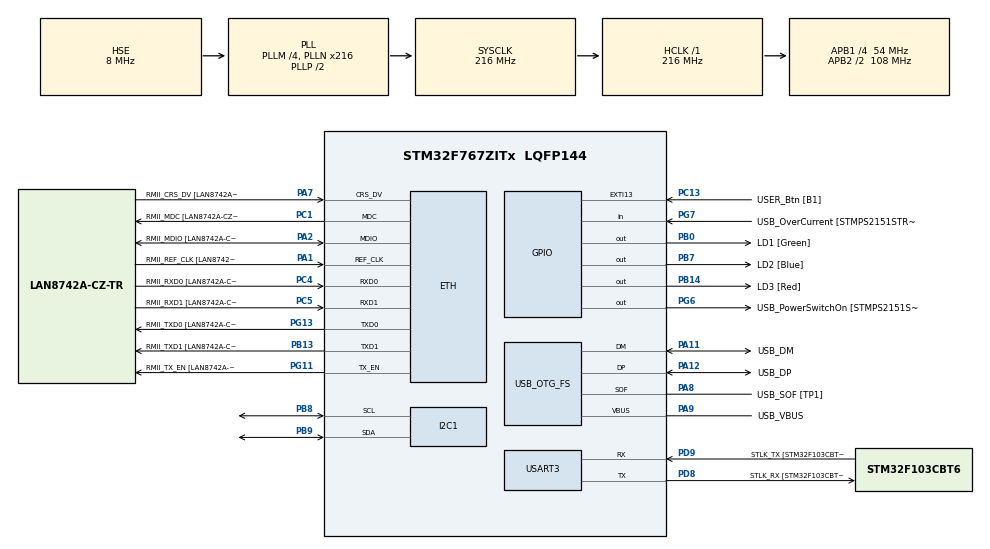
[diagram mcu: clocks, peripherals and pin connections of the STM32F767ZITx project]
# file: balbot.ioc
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ETH.MediaInterface=ETH_MEDIA_INTERFACE_RMII
ETH.PHY_Name=LAN8742A_PHY_ADDRESS
ETH.PHY_Value=0
ETH.PhyAddress=0
FREERTOS.BinarySemaphores01=buttonBinarySem,Dynamic,NULL
FREERTOS.Queues01=RxQueue,128,uint8_t,0,Dynamic,NULL,NULL;TxQueue,128,uint8_t,0,Dynamic,NULL,NULL
FREERTOS.Tasks01=ledTask,24,2048,StartLEDTask,Default,NULL,Dynamic,NULL,NULL;buttonTask,8,200,StartButtonTask,Default,NULL,Dynamic,NULL,NULL
I2C1.Timing=0x20404768
Mcu.Family=STM32F7
Mcu.Name=STM32F767ZITx
Mcu.Package=LQFP144
NVIC.EXTI15_10_IRQn=true\:5\:0\:false\:false\:true\:true\:true\:true
NVIC.PriorityGroup=NVIC_PRIORITYGROUP_4
NVIC.TIM8_TRG_COM_TIM14_IRQn=true\:0\:0\:false\:false\:true\:false\:false\:true
NVIC.TimeBase=TIM8_TRG_COM_TIM14_IRQn
NVIC.TimeBaseIP=TIM14
NVIC.USART3_IRQn=true\:5\:0\:false\:false\:true\:true\:true\:true
PA1.GPIO_Label=RMII_REF_CLK [LAN8742A-CZ-TR_REFCLK0]
PA1.Mode=RMII
PA1.Signal=ETH_REF_CLK
PA10.GPIO_Label=USB_ID
PA10.Signal=USB_OTG_FS_ID
PA11.GPIO_Label=USB_DM
PA11.Mode=Device_Only
PA11.Signal=USB_OTG_FS_DM
PA12.GPIO_Label=USB_DP
PA12.Mode=Device_Only
PA12.Signal=USB_OTG_FS_DP
PA13.GPIO_Label=TMS
PA13.Mode=Serial_Wire
PA13.Signal=SYS_JTMS-SWDIO
PA14.GPIO_Label=TCK
PA14.Mode=Serial_Wire
PA14.Signal=SYS_JTCK-SWCLK
PA2.GPIO_Label=RMII_MDIO [LAN8742A-CZ-TR_MDIO]
PA2.Mode=RMII
PA2.Signal=ETH_MDIO
PA7.GPIO_Label=RMII_CRS_DV [LAN8742A-CZ-TR_CRS_DV]
PA7.Mode=RMII
PA7.Signal=ETH_CRS_DV
PA8.GPIO_Label=USB_SOF [TP1]
PA8.Mode=Activate_SOF_FS
PA8.Signal=USB_OTG_FS_SOF
PA9.GPIO_Label=USB_VBUS
PA9.Mode=Activate_VBUS
PA9.Signal=USB_OTG_FS_VBUS
PB0.GPIO_Label=LD1 [Green]
PB0.Signal=GPIO_Output
PB13.GPIO_Label=RMII_TXD1 [LAN8742A-CZ-TR_TXD1]
PB13.Mode=RMII
PB13.Signal=ETH_TXD1
PB14.GPIO_Label=LD3 [Red]
PB14.Signal=GPIO_Output
PB3.GPIO_Label=SWO
PB3.Signal=SYS_JTDO-SWO
PB7.GPIO_Label=LD2 [Blue]
PB7.Signal=GPIO_Output
PB8.Mode=I2C
PB8.Signal=I2C1_SCL
PB9.Mode=I2C
PB9.Signal=I2C1_SDA
PC1.GPIO_Label=RMII_MDC [LAN8742A-CZ-TR_MDC]
PC1.Mode=RMII
PC1.Signal=ETH_MDC
PC13.GPIO_Label=USER_Btn [B1]
PC13.Signal=GPXTI13
PC14/OSC32_IN.Mode=LSE-External-Oscillator
PC14/OSC32_IN.Signal=RCC_OSC32_IN
PC15/OSC32_OUT.Mode=LSE-External-Oscillator
PC15/OSC32_OUT.Signal=RCC_OSC32_OUT
PC4.GPIO_Label=RMII_RXD0 [LAN8742A-CZ-TR_RXD0]
PC4.Mode=RMII
PC4.Signal=ETH_RXD0
PC5.GPIO_Label=RMII_RXD1 [LAN8742A-CZ-TR_RXD1]
PC5.Mode=RMII
PC5.Signal=ETH_RXD1
PD8.GPIO_Label=STLK_RX [STM32F103CBT6_PA3]
PD8.Mode=Asynchronous
PD8.Signal=USART3_TX
PD9.GPIO_Label=STLK_TX [STM32F103CBT6_PA2]
PD9.Mode=Asynchronous
PD9.Signal=USART3_RX
PG11.GPIO_Label=RMII_TX_EN [LAN8742A-CZ-TR_TXEN]
PG11.Mode=RMII
PG11.Signal=ETH_TX_EN
PG13.GPIO_Label=RMII_TXD0 [LAN8742A-CZ-TR_TXD0]
PG13.Mode=RMII
PG13.Signal=ETH_TXD0
PG6.GPIO_Label=USB_PowerSwitchOn [STMPS2151STR_EN]
PG6.Signal=GPIO_Output
PG7.GPIO_Label=USB_OverCurrent [STMPS2151STR_FAULT]
PG7.Signal=GPIO_Input
PH0/OSC_IN.GPIO_Label=MCO [STM32F103CBT6_PA8]
PH0/OSC_IN.Mode=HSE-External-Clock-Source
PH0/OSC_IN.Signal=RCC_OSC_IN
PH1/OSC_OUT.Mode=HSE-External-Clock-Source
PH1/OSC_OUT.Signal=RCC_OSC_OUT
ProjectManager.HeapSize=0x200
ProjectManager.StackSize=0x400
ProjectManager.TargetToolchain=STM32CubeIDE
RCC.48MHZClocksFreq_Value=24000000
RCC.AHBFreq_Value=216000000
RCC.APB1CLKDivider=RCC_HCLK_DIV4
RCC.APB1Freq_Value=54000000
RCC.APB1TimFreq_Value=108000000
RCC.APB2CLKDivider=RCC_HCLK_DIV2
RCC.APB2Freq_Value=108000000
RCC.APB2TimFreq_Value=216000000
RCC.CortexFreq_Value=216000000
RCC.HCLKFreq_Value=216000000
RCC.HSE_VALUE=8000000
RCC.HSI_VALUE=16000000
RCC.PLLM=4
RCC.PLLMUL=RCC_PLL_MUL9
RCC.PLLN=216
RCC.PLLQ=9
RCC.PRESCALERUSB=RCC_USBCLKSOURCE_PLL_DIV1_5
RCC.SYSCLKFreq_VALUE=216000000
RCC.SYSCLKSource=RCC_SYSCLKSOURCE_PLLCLK
RCC.SYSCLKSourceVirtual=RCC_SYSCLKSOURCE_PLLCLK
RCC.USBFreq_Value=48000000
RCC.VCOOutputFreq_Value=432000000
USART3.VirtualMode-Asynchronous=VM_ASYNC
USB_OTG_FS.VirtualMode=Device_Only
VP_FREERTOS_VS_CMSIS_V2.Mode=CMSIS_V2
VP_SYS_VS_tim14.Mode=TIM14
board=NUCLEO-F767ZI

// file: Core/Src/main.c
/* USER CODE BEGIN Header */
/**
  ******************************************************************************
  * @file           : main.c
  * @brief          : Main program body
  ******************************************************************************
  * @attention
  *
  * <h2><center>&copy; Copyright (c) 2020 STMicroelectronics.
  * All rights reserved.</center></h2>
  *
  * This software component is licensed by ST under BSD 3-Clause license,
  * the "License"; You may not use this file except in compliance with the
  * License. You may obtain a copy of the License at:
  *                        opensource.org/licenses/BSD-3-Clause
  *
  ******************************************************************************
  */
/* USER CODE END Header */

#include "main.h"
#include "cmsis_os.h"

/* USER CODE BEGIN Includes */
#include <stdio.h>
#include <string.h>
#include "I2Cdev.h"
#include "MPU6050.h"
/* USER CODE END Includes */

ETH_HandleTypeDef heth;

I2C_HandleTypeDef hi2c1;

UART_HandleTypeDef huart3;

PCD_HandleTypeDef hpcd_USB_OTG_FS;

/* Definitions for ledTask */
osThreadId_t ledTaskHandle;
const osThreadAttr_t ledTask_attributes = {
  .name = "ledTask",
  .priority = (osPriority_t) osPriorityNormal,
  .stack_size = 2048
};
/* Definitions for buttonTask */
osThreadId_t buttonTaskHandle;
const osThreadAttr_t buttonTask_attributes = {
  .name = "buttonTask",
  .priority = (osPriority_t) osPriorityLow,
  .stack_size = 2048
};
/* Definitions for RxQueue */
osMessageQueueId_t RxQueueHandle;
const osMessageQueueAttr_t RxQueue_attributes = {
  .name = "RxQueue"
};
/* Definitions for TxQueue */
osMessageQueueId_t TxQueueHandle;
const osMessageQueueAttr_t TxQueue_attributes = {
  .name = "TxQueue"
};
/* Definitions for buttonBinarySem */
osSemaphoreId_t buttonBinarySemHandle;
const osSemaphoreAttr_t buttonBinarySem_attributes = {
  .name = "buttonBinarySem"
};

void SystemClock_Config(void);
static void MX_GPIO_Init(void);
static void MX_ETH_Init(void);
static void MX_USART3_UART_Init(void);
static void MX_USB_OTG_FS_PCD_Init(void);
static void MX_I2C1_Init(void);
void StartLEDTask(void *argument);
void StartButtonTask(void *argument);

int main(void)
{

  /* MCU Configuration--------------------------------------------------------*/

  /* Reset of all peripherals, Initializes the Flash interface and the Systick. */
  HAL_Init();

  /* Configure the system clock */
  SystemClock_Config();

  /* Initialize all configured peripherals */
  MX_GPIO_Init();
  MX_ETH_Init();
  MX_USART3_UART_Init();
  MX_USB_OTG_FS_PCD_Init();
  MX_I2C1_Init();
  /* USER CODE BEGIN 2 */
  I2Cdev_init(&hi2c1); // init of i2cdevlib.

  MPU6050_initialize();
  while(!MPU6050_testConnection());
  printf("MPU6050 Device OK!!!\r\n");

  /* USER CODE END 2 */
  /* Init scheduler */
  osKernelInitialize();

  /* Create the semaphores(s) */
  /* creation of buttonBinarySem */
  buttonBinarySemHandle = osSemaphoreNew(1, 1, &buttonBinarySem_attributes);

  /* Create the queue(s) */
  /* creation of RxQueue */
  RxQueueHandle = osMessageQueueNew (128, sizeof(uint8_t), &RxQueue_attributes);

  /* creation of TxQueue */
  TxQueueHandle = osMessageQueueNew (128, sizeof(uint8_t), &TxQueue_attributes);

  /* Create the thread(s) */
  /* creation of ledTask */
  ledTaskHandle = osThreadNew(StartLEDTask, NULL, &ledTask_attributes);

  /* creation of buttonTask */
  buttonTaskHandle = osThreadNew(StartButtonTask, NULL, &buttonTask_attributes);

  /* Start scheduler */
  osKernelStart();

  /* We should never get here as control is now taken by the scheduler */

  /* Infinite loop */
  while (1)
  {

  }
}

void SystemClock_Config(void)
{
  RCC_OscInitTypeDef RCC_OscInitStruct = {0};
  RCC_ClkInitTypeDef RCC_ClkInitStruct = {0};
  RCC_PeriphCLKInitTypeDef PeriphClkInitStruct = {0};

  /** Configure LSE Drive Capability
  */
  HAL_PWR_EnableBkUpAccess();
  /** Configure the main internal regulator output voltage
  */
  __HAL_RCC_PWR_CLK_ENABLE();
  __HAL_PWR_VOLTAGESCALING_CONFIG(PWR_REGULATOR_VOLTAGE_SCALE1);
  /** Initializes the CPU, AHB and APB busses clocks
  */
  RCC_OscInitStruct.OscillatorType = RCC_OSCILLATORTYPE_HSE;
  RCC_OscInitStruct.HSEState = RCC_HSE_BYPASS;
  RCC_OscInitStruct.PLL.PLLState = RCC_PLL_ON;
  RCC_OscInitStruct.PLL.PLLSource = RCC_PLLSOURCE_HSE;
  RCC_OscInitStruct.PLL.PLLM = 4;
  RCC_OscInitStruct.PLL.PLLN = 216;
  RCC_OscInitStruct.PLL.PLLP = RCC_PLLP_DIV2;
  RCC_OscInitStruct.PLL.PLLQ = 9;
  if (HAL_RCC_OscConfig(&RCC_OscInitStruct) != HAL_OK)
  {
    Error_Handler();
  }
  /** Activate the Over-Drive mode
  */
  if (HAL_PWREx_EnableOverDrive() != HAL_OK)
  {
    Error_Handler();
  }
  /** Initializes the CPU, AHB and APB busses clocks
  */
  RCC_ClkInitStruct.ClockType = RCC_CLOCKTYPE_HCLK|RCC_CLOCKTYPE_SYSCLK
                              |RCC_CLOCKTYPE_PCLK1|RCC_CLOCKTYPE_PCLK2;
  RCC_ClkInitStruct.SYSCLKSource = RCC_SYSCLKSOURCE_PLLCLK;
  RCC_ClkInitStruct.AHBCLKDivider = RCC_SYSCLK_DIV1;
  RCC_ClkInitStruct.APB1CLKDivider = RCC_HCLK_DIV4;
  RCC_ClkInitStruct.APB2CLKDivider = RCC_HCLK_DIV2;

  if (HAL_RCC_ClockConfig(&RCC_ClkInitStruct, FLASH_LATENCY_7) != HAL_OK)
  {
    Error_Handler();
  }
  PeriphClkInitStruct.PeriphClockSelection = RCC_PERIPHCLK_USART3|RCC_PERIPHCLK_I2C1
                              |RCC_PERIPHCLK_CLK48;
  PeriphClkInitStruct.Usart3ClockSelection = RCC_USART3CLKSOURCE_PCLK1;
  PeriphClkInitStruct.I2c1ClockSelection = RCC_I2C1CLKSOURCE_PCLK1;
  PeriphClkInitStruct.Clk48ClockSelection = RCC_CLK48SOURCE_PLL;
  if (HAL_RCCEx_PeriphCLKConfig(&PeriphClkInitStruct) != HAL_OK)
  {
    Error_Handler();
  }
}

static void MX_ETH_Init(void)
{

  heth.Instance = ETH;
  heth.Init.AutoNegotiation = ETH_AUTONEGOTIATION_ENABLE;
  heth.Init.PhyAddress = LAN8742A_PHY_ADDRESS;
  heth.Init.MACAddr[0] =   0x00;
  heth.Init.MACAddr[1] =   0x80;
  heth.Init.MACAddr[2] =   0xE1;
  heth.Init.MACAddr[3] =   0x00;
  heth.Init.MACAddr[4] =   0x00;
  heth.Init.MACAddr[5] =   0x00;
  heth.Init.RxMode = ETH_RXPOLLING_MODE;
  heth.Init.ChecksumMode = ETH_CHECKSUM_BY_HARDWARE;
  heth.Init.MediaInterface = ETH_MEDIA_INTERFACE_RMII;

  if (HAL_ETH_Init(&heth) != HAL_OK)
  {
    Error_Handler();
  }

}

static void MX_I2C1_Init(void)
{

  hi2c1.Instance = I2C1;
  hi2c1.Init.Timing = 0x20404768;
  hi2c1.Init.OwnAddress1 = 0;
  hi2c1.Init.AddressingMode = I2C_ADDRESSINGMODE_7BIT;
  hi2c1.Init.DualAddressMode = I2C_DUALADDRESS_DISABLE;
  hi2c1.Init.OwnAddress2 = 0;
  hi2c1.Init.OwnAddress2Masks = I2C_OA2_NOMASK;
  hi2c1.Init.GeneralCallMode = I2C_GENERALCALL_DISABLE;
  hi2c1.Init.NoStretchMode = I2C_NOSTRETCH_DISABLE;
  if (HAL_I2C_Init(&hi2c1) != HAL_OK)
  {
    Error_Handler();
  }
  /** Configure Analogue filter
  */
  if (HAL_I2CEx_ConfigAnalogFilter(&hi2c1, I2C_ANALOGFILTER_ENABLE) != HAL_OK)
  {
    Error_Handler();
  }
  /** Configure Digital filter
  */
  if (HAL_I2CEx_ConfigDigitalFilter(&hi2c1, 0) != HAL_OK)
  {
    Error_Handler();
  }

}

static void MX_USART3_UART_Init(void)
{

  huart3.Instance = USART3;
  huart3.Init.BaudRate = 115200;
  huart3.Init.WordLength = UART_WORDLENGTH_8B;
  huart3.Init.StopBits = UART_STOPBITS_1;
  huart3.Init.Parity = UART_PARITY_NONE;
  huart3.Init.Mode = UART_MODE_TX_RX;
  huart3.Init.HwFlowCtl = UART_HWCONTROL_NONE;
  huart3.Init.OverSampling = UART_OVERSAMPLING_16;
  huart3.Init.OneBitSampling = UART_ONE_BIT_SAMPLE_DISABLE;
  huart3.AdvancedInit.AdvFeatureInit = UART_ADVFEATURE_NO_INIT;
  if (HAL_UART_Init(&huart3) != HAL_OK)
  {
    Error_Handler();
  }

}

static void MX_USB_OTG_FS_PCD_Init(void)
{

  hpcd_USB_OTG_FS.Instance = USB_OTG_FS;
  hpcd_USB_OTG_FS.Init.dev_endpoints = 6;
  hpcd_USB_OTG_FS.Init.speed = PCD_SPEED_FULL;
  hpcd_USB_OTG_FS.Init.dma_enable = DISABLE;
  hpcd_USB_OTG_FS.Init.phy_itface = PCD_PHY_EMBEDDED;
  hpcd_USB_OTG_FS.Init.Sof_enable = ENABLE;
  hpcd_USB_OTG_FS.Init.low_power_enable = DISABLE;
  hpcd_USB_OTG_FS.Init.lpm_enable = DISABLE;
  hpcd_USB_OTG_FS.Init.vbus_sensing_enable = ENABLE;
  hpcd_USB_OTG_FS.Init.use_dedicated_ep1 = DISABLE;
  if (HAL_PCD_Init(&hpcd_USB_OTG_FS) != HAL_OK)
  {
    Error_Handler();
  }

}

static void MX_GPIO_Init(void)
{
  GPIO_InitTypeDef GPIO_InitStruct = {0};

  /* GPIO Ports Clock Enable */
  __HAL_RCC_GPIOC_CLK_ENABLE();
  __HAL_RCC_GPIOH_CLK_ENABLE();
  __HAL_RCC_GPIOA_CLK_ENABLE();
  __HAL_RCC_GPIOB_CLK_ENABLE();
  __HAL_RCC_GPIOD_CLK_ENABLE();
  __HAL_RCC_GPIOG_CLK_ENABLE();

  /*Configure GPIO pin Output Level */
  HAL_GPIO_WritePin(GPIOB, LD1_Pin|LD3_Pin|LD2_Pin, GPIO_PIN_RESET);

  /*Configure GPIO pin Output Level */
  HAL_GPIO_WritePin(USB_PowerSwitchOn_GPIO_Port, USB_PowerSwitchOn_Pin, GPIO_PIN_RESET);

  /*Configure GPIO pin : USER_Btn_Pin */
  GPIO_InitStruct.Pin = USER_Btn_Pin;
  GPIO_InitStruct.Mode = GPIO_MODE_IT_RISING;
  GPIO_InitStruct.Pull = GPIO_NOPULL;
  HAL_GPIO_Init(USER_Btn_GPIO_Port, &GPIO_InitStruct);

  /*Configure GPIO pins : LD1_Pin LD3_Pin LD2_Pin */
  GPIO_InitStruct.Pin = LD1_Pin|LD3_Pin|LD2_Pin;
  GPIO_InitStruct.Mode = GPIO_MODE_OUTPUT_PP;
  GPIO_InitStruct.Pull = GPIO_NOPULL;
  GPIO_InitStruct.Speed = GPIO_SPEED_FREQ_LOW;
  HAL_GPIO_Init(GPIOB, &GPIO_InitStruct);

  /*Configure GPIO pin : USB_PowerSwitchOn_Pin */
  GPIO_InitStruct.Pin = USB_PowerSwitchOn_Pin;
  GPIO_InitStruct.Mode = GPIO_MODE_OUTPUT_PP;
  GPIO_InitStruct.Pull = GPIO_NOPULL;
  GPIO_InitStruct.Speed = GPIO_SPEED_FREQ_LOW;
  HAL_GPIO_Init(USB_PowerSwitchOn_GPIO_Port, &GPIO_InitStruct);

  /*Configure GPIO pin : USB_OverCurrent_Pin */
  GPIO_InitStruct.Pin = USB_OverCurrent_Pin;
  GPIO_InitStruct.Mode = GPIO_MODE_INPUT;
  GPIO_InitStruct.Pull = GPIO_NOPULL;
  HAL_GPIO_Init(USB_OverCurrent_GPIO_Port, &GPIO_InitStruct);

  /* EXTI interrupt init*/
  HAL_NVIC_SetPriority(EXTI15_10_IRQn, 5, 0);
  HAL_NVIC_EnableIRQ(EXTI15_10_IRQn);

}

/* USER CODE BEGIN 4 */
int __io_putchar(int ch)
{
  HAL_UART_Transmit(&huart3, (uint8_t*)&ch, 1,  0xFFFF);
  //HAL_UART_Transmit_IT(&huart3, (uint8_t*)&ch, 1);
  return ch;
}

void HAL_GPIO_EXTI_Callback(uint16_t GPIO_Pin)
{
  /* Prevent unused argument(s) compilation warning */
  UNUSED(GPIO_Pin);
  //osSemaphoreRelease(buttonBinarySemHandle);
}

bool RawKeyPressed(void)
{
	if(GPIO_PIN_RESET == HAL_GPIO_ReadPin(GPIOC, USER_Btn_Pin)) return true;
	else return false;
}

bool DebounceSwitch(void)
{
  static uint16_t State = 0;
  State = (State << 1) | !RawKeyPressed() | 0xe000;
  if(State == 0xf000) return true;
  else return false;
}
/* USER CODE END 4 */

void StartLEDTask(void *argument)
{
  /* USER CODE BEGIN 5 */
  //char *msg = "\r\nBUTTON PRESSED!";
  float f = 1.0f;
  //int i = 0;
  /* Infinite loop */
  for(;;)
  {
	HAL_GPIO_TogglePin(GPIOB, LD2_Pin);
	//printf("Before aquiring sem\r\n");
    osSemaphoreAcquire(buttonBinarySemHandle, osWaitForever);
    //HAL_UART_Transmit_IT(&huart3, (uint8_t*)msg, strlen(msg));
    //printf("Button pressed!!! --> %f\r\n", f++);
	//HAL_GPIO_TogglePin(GPIOB, LD1_Pin);
	//i++;
	f += 0.5f;
	printf("T1 --> I'm trying to print a float: %f\r\n", f);

    //osDelay(100);
  }
  /* USER CODE END 5 */
}

void StartButtonTask(void *argument)
{
  /* USER CODE BEGIN StartButtonTask */
  bool debounced = false;
  /* Infinite loop */
  for(;;)
  {
	if(debounced) {
	  debounced = false;
      osSemaphoreRelease(buttonBinarySemHandle);
      printf("Releaseing Btn Semaphore\r\n");
	}
	debounced = DebounceSwitch();
	osDelay(10);
  }
  /* USER CODE END StartButtonTask */
}

void HAL_TIM_PeriodElapsedCallback(TIM_HandleTypeDef *htim)
{
  if (htim->Instance == TIM14) {
    HAL_IncTick();
  }
}

void Error_Handler(void)
{
}

/************************ (C) COPYRIGHT STMicroelectronics *****END OF FILE****/
